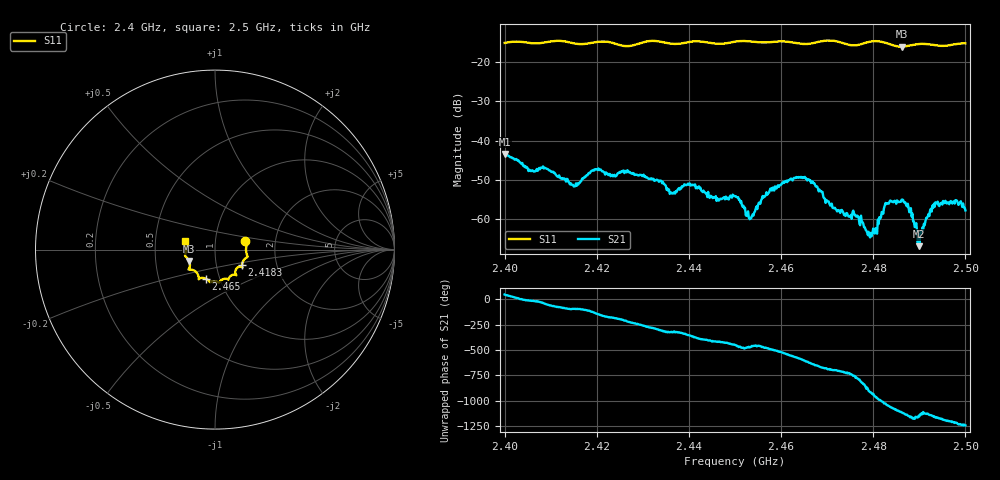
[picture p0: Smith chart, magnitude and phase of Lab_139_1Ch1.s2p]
# Hz S RI R 50
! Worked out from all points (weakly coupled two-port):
!   601 points, 2.4 GHz to 2.5 GHz, reference 50 ohm
!   highest |S21| = -43.40 dB at 2.4 GHz (marker M1); lowest = -66.9 dB at 2.49 GHz (marker M2)
!   lowest |S11| = -16.1 dB at 2.4862 GHz (marker M3), VSWR 1.37, Z = 37.2 - j4.82 ohm
!   |S11| at or under -10 dB: start of sweep to end of sweep
!   S12 and S22 are empty: the file has one direction only
!   S11 on the Smith chart (normalised r, x): 2.4 GHz: 1.40, +0.14; 2.4183 GHz: 1.33, -0.24; 2.465 GHz: 0.86, -0.28; 2.5 GHz: 0.71, +0.07
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2.4e9  0.169 0.047  0.0045 0.00504  0 0  0 0
2.414667e9  0.1678 -0.0497  -0.000178 -0.00274  0 0  0 0
2.416667e9  0.1549 -0.0684  -0.000449 -0.00305  0 0  0 0
2.418333e9  0.1502 -0.0871  -0.00138 -0.00363  0 0  0 0
2.433333e9  0.1176 -0.1409  0.0014 0.00277  0 0  0 0
2.436333e9  0.097 -0.141  0.00172 0.00124  0 0  0 0
2.440167e9  0.0757 -0.1641  0.00285 0.000186  0 0  0 0
2.4465e9  0.0491 -0.1632  0.000887 -0.00148  0 0  0 0
2.45e9  0.0262 -0.1803  5.14e-05 -0.00196  0 0  0 0
2.4535e9  0.0168 -0.182  -0.000295 -0.000979  0 0  0 0
2.457833e9  -0.0158 -0.1789  -0.00167 -0.00179  0 0  0 0
2.465e9  -0.0525 -0.1615  -0.00155 0.003  0 0  0 0
2.466667e9  -0.0714 -0.1577  0.000259 0.00291  0 0  0 0
2.471667e9  -0.09 -0.1625  0.0013 0.000518  0 0  0 0
2.476167e9  -0.112 -0.119  0.00066 -0.000903  0 0  0 0
2.479167e9  -0.1432 -0.1112  -0.000608 9.01e-05  0 0  0 0
2.483333e9  -0.1412 -0.0964  0.00136 0.000791  0 0  0 0
2.486167e9  -0.1437 -0.0632  0.00143 -0.00104  0 0  0 0
2.488e9  -0.1561 -0.0465  0.000148 -0.00133  0 0  0 0
2.49e9  -0.1658 -0.0374  0.000116 -0.000438  0 0  0 0
2.4935e9  -0.1628 -0.0151  0.000105 -0.00163  0 0  0 0
2.5e9  -0.1666 0.0468  -0.00124 -0.00036  0 0  0 0
